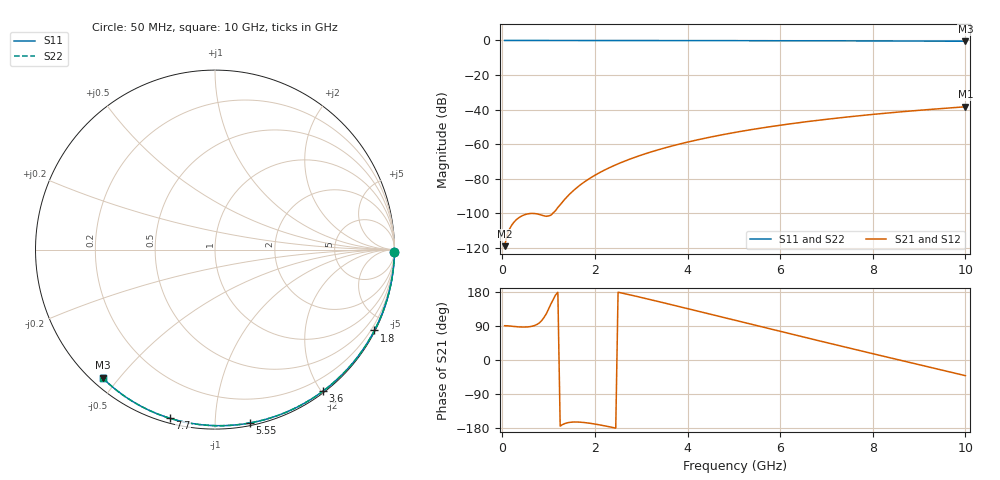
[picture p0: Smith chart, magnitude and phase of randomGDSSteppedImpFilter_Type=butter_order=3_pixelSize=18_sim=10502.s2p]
! freq	dB(S11)	phase(S11)	dB(S12)	phase(S12)
!  dB(S21)	phase(S21)	dB(S22)	phase(S22)
!S-par simulation data
#  GHz  S  DB  R 50
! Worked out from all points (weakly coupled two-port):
!   200 points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, 50 MHz to 10 GHz, reference 50 ohm
!   highest |S21| = -38.43 dB at 10 GHz (marker M1); lowest = -119.1 dB at 50 MHz (marker M2)
!   lowest |S11| = -0.4 dB at 10 GHz (marker M3), VSWR 38.97, Z = 1.55 - j22.6 ohm
!   |S11| at or under -10 dB: nowhere
!   |S22| runs from -0.4 to 0.0 dB; largest |S21 - S12| = 0
!   S11 on the Smith chart (normalised r, x): 50 MHz: open; 1.8 GHz: 0.04, -4.18; 3.6 GHz: 0.02, -2.02; 5.55 GHz: 0.02, -1.22; 7.7 GHz: 0.02, -0.77; 10 GHz: 0.03, -0.45
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0.05  -0.00 -0.8  -119.14 90.4  -119.14 90.4  -0.00 -0.8
0.9  -0.02 -13.6  -101.58 112.2  -101.58 112.2  -0.02 -13.6
1.75  -0.03 -26.2  -82.36 -164.8  -82.36 -164.8  -0.03 -26.2
1.8  -0.03 -26.9  -81.43 -165.5  -81.43 -165.5  -0.03 -26.9
1.85  -0.04 -27.6  -80.54 -166.2  -80.54 -166.2  -0.04 -27.6
1.9  -0.04 -28.4  -79.68 -167.1  -79.68 -167.1  -0.04 -28.4
2.05  -0.04 -30.6  -77.30 -170.1  -77.30 -170.1  -0.04 -30.5
2.25  -0.04 -33.5  -74.50 -174.7  -74.50 -174.7  -0.04 -33.5
2.45  -0.05 -36.3  -72.02 -179.8  -72.02 -179.8  -0.05 -36.3
2.65  -0.05 -39.2  -69.80 174.9  -69.80 174.9  -0.05 -39.2
3  -0.06 -44.2  -66.39 165.0  -66.39 165.0  -0.06 -44.2
3.4  -0.07 -49.8  -63.06 153.4  -63.06 153.4  -0.07 -49.8
3.6  -0.07 -52.6  -61.57 147.5  -61.57 147.5  -0.07 -52.6
4.3  -0.09 -62.2  -57.06 126.6  -57.06 126.6  -0.09 -62.2
5.05  -0.11 -72.1  -53.13 104.1  -53.13 104.1  -0.11 -72.1
5.55  -0.13 -78.6  -50.90 89.1  -50.90 89.1  -0.13 -78.6
6.1  -0.15 -85.5  -48.72 72.7  -48.72 72.7  -0.15 -85.5
6.7  -0.18 -92.9  -46.62 54.8  -46.62 54.8  -0.18 -92.9
7.7  -0.24 -104.9  -43.63 25.4  -43.63 25.4  -0.24 -104.9
8.35  -0.29 -112.5  -41.95 6.5  -41.95 6.5  -0.29 -112.5
9.15  -0.36 -121.7  -40.13 -16.7  -40.13 -16.7  -0.36 -121.7
10  -0.45 -131.3  -38.43 -41.3  -38.43 -41.3  -0.45 -131.3
